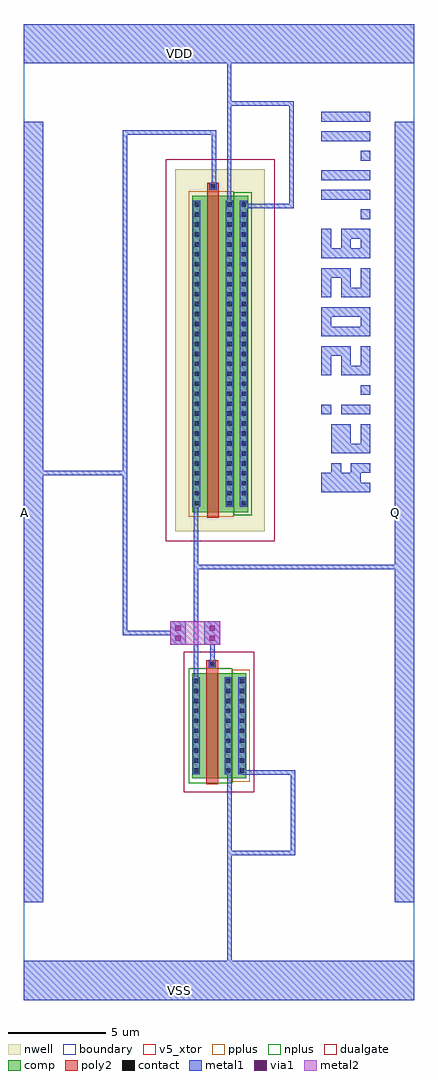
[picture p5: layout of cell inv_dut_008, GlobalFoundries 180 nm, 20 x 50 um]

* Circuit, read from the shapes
.subckt inv_dut_008 A Q VDD VSS
XM1 VSS A Q VSS nfet_05v0 w=5.4u l=0.6u
XM2 VDD A Q VDD pfet_05v0 w=16.2u l=0.6u
.ends

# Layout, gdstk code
import gdstk
lib = gdstk.Library(unit=1e-6, precision=1e-09)
def R(c, l, rs):  # rectangles x0, y0, x1, y1
    for r in rs: c.add(gdstk.rectangle(r[:2], r[2:], *l))
def A(c, l, x, y, w, h, nx, ny, dx, dy):  # array of equal rectangles
    R(c, l, [(x+i*dx, y+j*dy, x+i*dx+w, y+j*dy+h) for i in range(nx) for j in range(ny)])
boundary = (0, 0)
nwell = (21, 0)
comp = (22, 0)
poly2 = (30, 0)
pplus = (31, 0)
nplus = (32, 0)
contact = (33, 0)
metal1 = (34, 0)
via1 = (35, 0)
metal2 = (36, 0)
dualgate = (55, 0)
v5_xtor = (112, 1)

pfet_13 = lib.new_cell('pfet$13')
R(pfet_13, nwell, [(-1.32,-0.99,3.27,17.57)])
R(pfet_13, comp, [(-0.46,0,2.41,16.2)])
R(pfet_13, poly2, [(0.31,-0.3,0.91,16.88)])
R(pfet_13, pplus, [(-0.63,-0.24,1.68,16.44)])
R(pfet_13, nplus, [(1.68,-0.17,2.58,16.37)])
A(pfet_13, contact, -0.34, 0.34, 0.22, 0.22, 1, 31, 0, 0.51)
A(pfet_13, contact, 1.34, 0.34, 0.22, 0.22, 1, 31, 0, 0.51)
A(pfet_13, contact, 2.07, 0.34, 0.22, 0.22, 1, 31, 0, 0.51)
R(pfet_13, contact, [(0.5,16.58,0.72,16.8)])
R(pfet_13, metal1, [(-0.42,0.26,-0.04,15.94), (1.26,0.26,1.64,15.94), (1.99,0.26,2.37,15.94), (0.42,16.5,0.8,16.88)])
R(pfet_13, dualgate, [(-1.82,-1.49,3.77,18.07)])
R(pfet_13, v5_xtor, [(-1.82,-1.49,3.77,18.07)])

nfet_15 = lib.new_cell('nfet$15')
R(nfet_15, comp, [(-0.42,0,2.35,5.4)])
R(nfet_15, poly2, [(0.31,-0.3,0.91,6.06)])
R(nfet_15, pplus, [(1.64,-0.17,2.52,5.57)])
R(nfet_15, nplus, [(-0.59,-0.24,1.64,5.64)])
A(nfet_15, contact, -0.32, 0.295, 0.22, 0.22, 1, 10, 0, 0.51)
A(nfet_15, contact, 1.32, 0.295, 0.22, 0.22, 1, 10, 0, 0.51)
A(nfet_15, contact, 2.03, 0.295, 0.22, 0.22, 1, 10, 0, 0.51)
R(nfet_15, contact, [(0.5,5.77,0.72,5.99)])
R(nfet_15, metal1, [(-0.4,0.215,-0.02,5.185), (1.24,0.215,1.62,5.185), (1.95,0.215,2.33,5.185), (0.42,5.69,0.8,6.07)])
R(nfet_15, dualgate, [(-0.84,-0.71,2.77,6.48)])
R(nfet_15, v5_xtor, [(-0.84,-0.71,2.77,6.48)])

inv_dut_008 = lib.new_cell('inv_dut_008')
R(inv_dut_008, boundary, [(-10,-25,10,25)])
A(inv_dut_008, metal1, 5.25, 1, 0.5, 0.5, 5, 2, 0.5, 8)
A(inv_dut_008, metal1, 5.25, 1.5, 0.5, 0.5, 4, 1, 0.5, 0)
A(inv_dut_008, metal1, 5.75, 3, 0.5, 0.5, 4, 1, 0.5, 0)
A(inv_dut_008, metal1, 7.25, 4, 0.5, 0.5, 1, 3, 0, 2)
A(inv_dut_008, metal1, 6.25, 5, 0.5, 0.5, 3, 2, 0.5, 2)
A(inv_dut_008, metal1, 5.25, 7.5, 0.5, 0.5, 3, 2, 1, 4)
A(inv_dut_008, metal1, 5.25, 8, 0.5, 0.5, 3, 2, 0.5, 4)
A(inv_dut_008, metal1, 5.25, 10, 0.5, 0.5, 5, 3, 0.5, 3)
A(inv_dut_008, metal1, 6.25, 11, 0.5, 0.5, 3, 2, 0.5, 3)
A(inv_dut_008, metal1, 7.25, 12, 0.5, 0.5, 1, 3, 0, 3)
A(inv_dut_008, metal1, 5.25, 13.5, 0.5, 0.5, 3, 1, 1, 0)
A(inv_dut_008, metal1, 5.25, 17, 0.5, 0.5, 5, 2, 0.5, 2)
A(inv_dut_008, metal1, 5.25, 20, 0.5, 0.5, 5, 1, 0.5, 0)
R(inv_dut_008, metal1, [(-10,-25,10,-23), (-10,-20,-9,20), (9,-20,10,20), (-2.5,-6.805,-1.7,-5.605), (-0.745,-6.805,0.055,-5.605), (5.75,2,6.25,2.5), (6.75,2,7.25,2.5), (7.25,2,7.75,2.5), (5.75,3.5,6.25,4), (6.25,3.5,6.75,4), (7.25,3.5,7.75,4), (5.75,4,6.25,4.5), (6.25,4,6.75,4.5), (5.25,5,5.75,5.5), (5.25,7,5.75,7.5), (5.25,9.5,5.75,10), (7.25,9.5,7.75,10), (5.25,11,5.75,11.5), (5.25,14,5.75,14.5), (-10,23,10,25)])
R(inv_dut_008, via1, [(-2.23,-6.595,-1.97,-6.335), (-0.475,-6.595,-0.215,-6.335), (-2.23,-6.075,-1.97,-5.815), (-0.475,-6.075,-0.215,-5.815)])
R(inv_dut_008, metal2, [(-2.5,-6.805,0.055,-5.605)])
inv_dut_008.add(gdstk.FlexPath([(0.54,-13.285),(0.54,-24.86)], 0.23, ends="flush", simple_path=True, layer=34, datatype=0))  # metal1
inv_dut_008.add(gdstk.FlexPath([(1.245,-13.34),(3.795,-13.34),(3.795,-17.475),(0.5,-17.475),(0.5,-17.475)], 0.23, ends="flush", simple_path=True, layer=34, datatype=0))  # metal1
inv_dut_008.add(gdstk.FlexPath([(-0.245,16.6),(-0.245,19.445),(-4.805,19.445),(-4.805,-6.205),(-2.1,-6.205)], 0.23, ends="flush", simple_path=True, layer=34, datatype=0))  # metal1
inv_dut_008.add(gdstk.FlexPath([(-0.345,-6.205),(-0.345,-7.775),(-0.245,-7.775)], 0.23, ends="flush", simple_path=True, layer=34, datatype=0))  # metal1
inv_dut_008.add(gdstk.FlexPath([(-1.175,0.37),(-1.175,-8.755)], 0.23, ends="flush", simple_path=True, layer=34, datatype=0))  # metal1
inv_dut_008.add(gdstk.FlexPath([(0.525,15.73),(0.525,24.795)], 0.23, ends="flush", simple_path=True, layer=34, datatype=0))  # metal1
inv_dut_008.add(gdstk.FlexPath([(1.28,15.68),(3.715,15.68),(3.715,20.93),(0.58,20.93),(0.58,20.93),(0.58,20.93)], 0.23, ends="flush", simple_path=True, layer=34, datatype=0))  # metal1
inv_dut_008.add(gdstk.FlexPath([(-4.77,2.01),(-9.92,2.01)], 0.23, ends="flush", simple_path=True, layer=34, datatype=0))  # metal1
inv_dut_008.add(gdstk.FlexPath([(-1.175,-2.825),(9.455,-2.825)], 0.23, ends="flush", simple_path=True, layer=34, datatype=0))  # metal1
inv_dut_008.add(gdstk.Reference(pfet_13, (-0.915,0)))
inv_dut_008.add(gdstk.Reference(nfet_15, (-0.955,-13.65)))
inv_dut_008.add(gdstk.Label('VDD', (-2,23.5), layer=34, texttype=10))
inv_dut_008.add(gdstk.Label('VSS', (-2,-24.5), layer=34, texttype=10))
inv_dut_008.add(gdstk.Label('A', (-9.97,0), layer=34, texttype=10))
inv_dut_008.add(gdstk.Label('Q', (9.03,0), layer=34, texttype=10))

lib.write_gds('inv_dut_008.gds')
